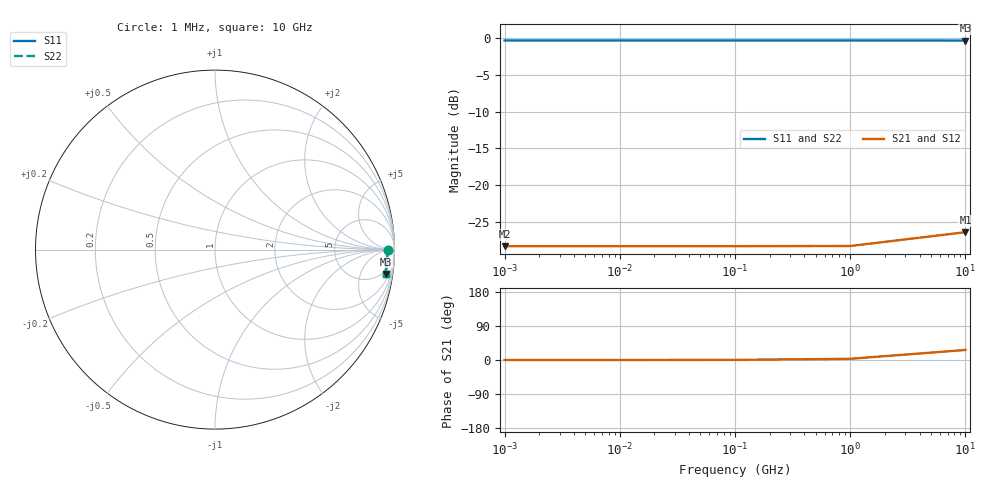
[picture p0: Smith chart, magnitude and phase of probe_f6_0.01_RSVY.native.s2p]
! Sonnet Data File
! From: em Version : 18.53-Lite
! From Project: probe_f6_0.01_RSVY
! Data is NOT De-embedded
! Data File Written: 10/12/2026 10:38:25
!< HDATE 10/12/2026 10:38:25
!< MDATE 10/12/2026 10:38:25
# GHZ S RI R 50.00000
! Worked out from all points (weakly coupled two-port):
!   5 points, 1 MHz to 10 GHz, reference 50 ohm
!   highest |S21| = -26.40 dB at 10 GHz (marker M1); lowest = -28.3 dB at 1 MHz (marker M2)
!   lowest |S11| = -0.4 dB at 10 GHz (marker M3), VSWR 49.29, Z = 187 - j651 ohm
!   |S11| at or under -10 dB: nowhere
!   |S22| runs from -0.4 to -0.3 dB; largest |S21 - S12| = 6.2e-11
0.001  0.9615 -1.35e-05  0.0385 2.13e-06  0.0385 2.13e-06  0.9615 -1.35e-05
0.01  0.9615 -0.000135  0.0385 2.13e-05  0.0385 2.13e-05  0.9615 -0.000135
0.1  0.9615 -0.00135  0.0385 0.000213  0.0385 0.000213  0.9615 -0.00135
1  0.9614 -0.0135  0.0385 0.00213  0.0385 0.00213  0.9614 -0.0135
10  0.9506 -0.1356  0.0428 0.0213  0.0428 0.0213  0.9506 -0.1356
